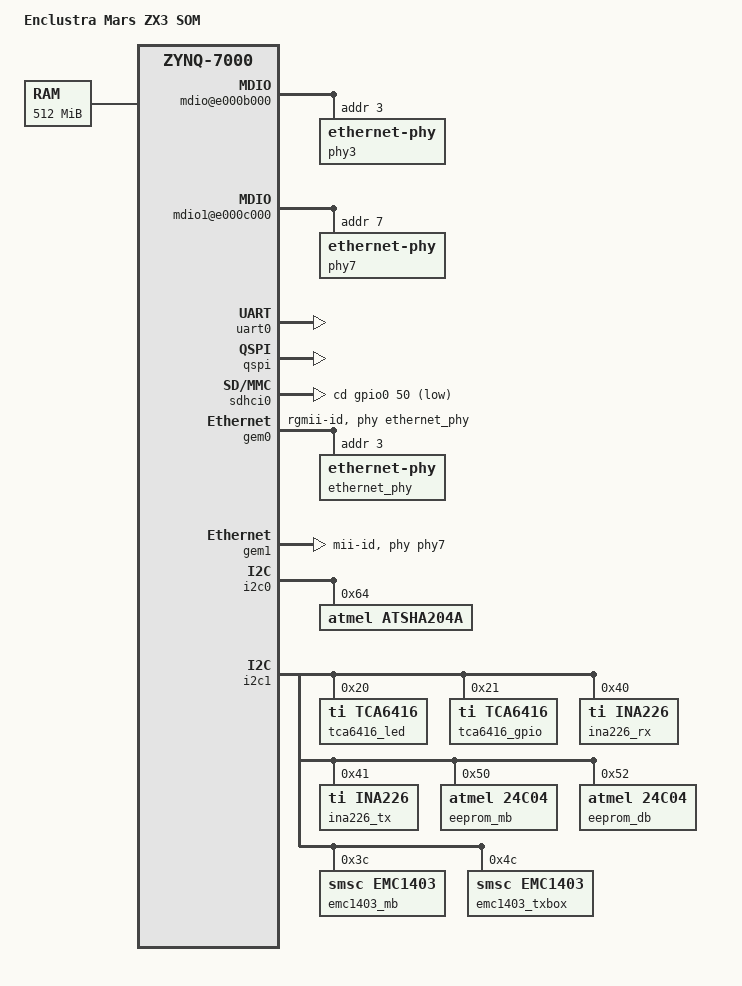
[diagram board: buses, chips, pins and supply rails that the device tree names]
/dts-v1/;
#include "zynq-7000.dtsi"
#include <dt-bindings/gpio/gpio.h>

/ {
	model = "Enclustra Mars ZX3 SOM";
	compatible = "xlnx,zynq-7000";
	aliases {
		eeprom0 = &eeprom_mb;
		eeprom1 = &eeprom_db;
		ethernet0 = &gem0;
		ethernet1 = &gem1;
		mmc0 = &sdhci0;
		serial0 = &uart0;
		spi0 = &qspi;
		gpio0 = &gpio0;
		gpio1 = &tca6416_led;
		gpio2 = &tca6416_gpio;
		i2c0 = &i2c0;
		i2c1 = &i2c1;
	};
	chosen {
		xlnx,eeprom = &eeprom_mb;
	};
	memory {
		device_type = "memory";
		reg = <0 0x20000000>;
	};
	mdio@e000b000 {
		compatible = "cdns,macb-mdio";
		reg = <0xe000b000 0x1000>;
		clocks = <&clkc 30>, <&clkc 30>, <&clkc 13>;
		clock-names = "pclk", "hclk", "tx_clk";
		#address-cells = <1>;
		#size-cells = <0>;
		phy3: ethernet-phy@3 {
			reg = <3>;
		};
	};
	mdio1@e000c000 {
		compatible = "cdns,macb-mdio";
		reg = <0xe000c000 0x1000>;
		clocks = <&clkc 31>, <&clkc 31>;
		clock-names = "pclk", "hclk";
		#address-cells = <1>;
		#size-cells = <0>;
		phy7: ethernet-phy@7 {
			reg = <7>;
		};
	};
};
&uart0 {
	u-boot,dm-pre-reloc;
	status = "okay";
};
&qspi {
	status = "okay";
	is-dual = <0>;
	num-cs = <1>;
};
&sdhci0 {
	u-boot,dm-pre-reloc;
	status = "okay";
	cd-gpios = <&gpio0 50 GPIO_ACTIVE_LOW>;
};
&gem0 {
	u-boot,dm-pre-reloc;
	status = "okay";
	phy-handle = <&ethernet_phy>;
	phy-mode = "rgmii-id";
	ethernet_phy: ethernet-phy@3 {
		reg = <3>;
	};
};
&gem1 {
  status = "okay";
  phy-mode = "mii-id";
  phy-handle = <&phy7>;
  xlnx,emio = <1>;
};
&i2c0 {
	status = "okay";
	atsha204a@64 {
		compatible = "atmel,atsha204a";
		reg = <0x64>;
	};
};
&i2c1 {
  status = "okay";
  tca6416_led: gpio@20 {
    compatible = "ti,tca6416";
    reg = <0x20>;
    gpio-controller;
    #gpio-cells = <2>;
  };
  tca6416_gpio: gpio@21 {
    compatible = "ti,tca6416";
    reg = <0x21>;
    gpio-controller;
    #gpio-cells = <2>;
  };
  ina226_rx: ina226rx@40 {
    compatible = "ti,ina226";
    reg = <0x40>;
    shunt-resistor = <40000>;
  };
  ina226_tx: ina226tx@41 {
    compatible = "ti,ina226";
    reg = <0x41>;
    shunt-resistor = <10000>;
  };
  eeprom_mb: eeprom@50 {
    compatible = "atmel,24c04";
    reg = <0x50>;
  };
  eeprom_db: eeprom@52 {
    compatible = "atmel,24c04";
    reg = <0x52>;
  };
  emc1403_mb: emc1403@4c {
    compatible = "smsc,emc1403";
    reg = <0x3c>;
  };
  emc1403_txbox: emc1403@4c {
    compatible = "smsc,emc1403";
    reg = <0x4c>;
  };
};
